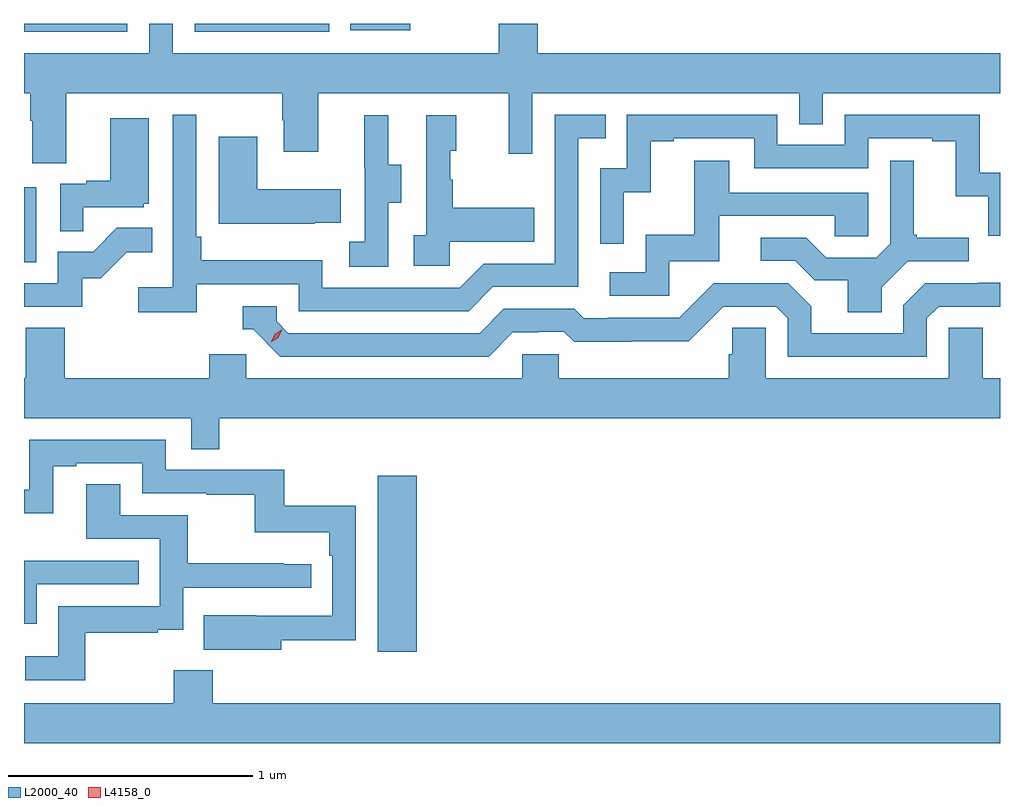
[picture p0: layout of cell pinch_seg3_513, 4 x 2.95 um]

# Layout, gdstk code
import gdstk
lib = gdstk.Library(unit=1e-6, precision=1e-09)
def R(c, l, rs):  # rectangles x0, y0, x1, y1
    for r in rs: c.add(gdstk.rectangle(r[:2], r[2:], *l))
def P(c, l, *ps):  # polygons
    for p in ps: c.add(gdstk.Polygon(p, *l))
L2000_40 = (2000, 40)
L4158_0 = (4158, 0)

pinch_seg3_513 = lib.new_cell('pinch_seg3_513')
R(pinch_seg3_513, L2000_40, [(959.423,675.984,959.584,676.705), (957.974,677.58,958.024,677.887), (957.974,678.525,958.398,678.557), (958.674,678.525,959.226,678.557), (959.311,678.531,959.557,678.557)])
P(pinch_seg3_513, L2000_40, [(959.96,678.024),(960.057,678.024),(960.057,678.272),(961.152,678.272),(961.152,678.145),(961.248,678.145),(961.248,678.272),(961.974,678.272),(961.974,678.436),(960.08,678.436),(960.08,678.557),(959.92,678.557),(959.92,678.436),(958.584,678.436),(958.584,678.557),(958.488,678.557),(958.488,678.436),(957.974,678.436),(957.974,678.272),(958,678.272),(958,678.16),(958.007,678.16),(958.007,677.986),(958.147,677.986),(958.147,678.272),(959.032,678.272),(959.032,678.161),(959.039,678.161),(959.039,678.033),(959.179,678.033),(959.179,678.272),(959.96,678.272)],
  [(958.682,677.49),(959.1,677.49),(959.1,677.379),(959.797,677.379),(959.896,677.478),(960.246,677.478),(960.246,678.087),(960.359,678.087),(960.359,678.183),(960.15,678.183),(960.15,677.574),(959.859,677.574),(959.76,677.475),(959.196,677.475),(959.196,677.587),(958.7,677.587),(958.7,677.683),(958.68,677.683),(958.68,678.184),(958.584,678.184),(958.584,677.476),(958.443,677.476),(958.443,677.374),(958.682,677.374)],
  [(960.432,677.867),(960.542,677.867),(960.542,678.075),(960.637,678.075),(960.637,678.087),(960.966,678.087),(960.966,677.964),(961.434,677.964),(961.434,678.087),(961.697,678.087),(961.697,678.075),(961.793,678.075),(961.793,677.849),(961.926,677.849),(961.926,677.688),(961.974,677.688),(961.974,677.947),(961.89,677.947),(961.89,678.183),(961.338,678.183),(961.338,678.06),(961.062,678.06),(961.062,678.183),(960.444,678.183),(960.444,677.964),(960.336,677.964),(960.336,677.655),(960.432,677.655)],
  [(959.466,677.824),(959.521,677.824),(959.521,677.979),(959.467,677.979),(959.467,678.181),(959.369,678.181),(959.369,677.967),(959.37,677.967),(959.37,677.663),(959.307,677.663),(959.307,677.56),(959.466,677.56)],
  [(959.718,677.663),(960.065,677.663),(960.065,677.803),(959.731,677.803),(959.731,677.918),(959.721,677.918),(959.721,678.036),(959.746,678.036),(959.746,678.181),(959.622,678.181),(959.622,677.69),(959.571,677.69),(959.571,677.565),(959.718,677.565)],
  [(958.217,677.805),(958.464,677.805),(958.464,677.82),(958.486,677.82),(958.486,678.169),(958.328,678.169),(958.328,677.914),(958.229,677.914),(958.229,677.901),(958.122,677.901),(958.122,677.707),(958.217,677.707)],
  [(959.165,677.741),(959.273,677.741),(959.273,677.878),(958.93,677.878),(958.93,678.094),(958.772,678.094),(958.772,677.738),(959.165,677.738)],
  [(960.618,677.583),(960.823,677.583),(960.823,677.769),(961.297,677.769),(961.297,677.685),(961.434,677.685),(961.434,677.865),(960.865,677.865),(960.865,677.995),(960.721,677.995),(960.721,677.692),(960.522,677.692),(960.522,677.538),(960.375,677.538),(960.375,677.442),(960.618,677.442)],
  [(961.489,677.476),(961.596,677.583),(961.846,677.583),(961.846,677.68),(961.633,677.68),(961.633,677.692),(961.621,677.692),(961.621,677.995),(961.524,677.995),(961.524,677.655),(961.467,677.598),(961.261,677.598),(961.18,677.679),(960.993,677.679),(960.993,677.586),(961.134,677.586),(961.214,677.506),(961.349,677.506),(961.349,677.374),(961.489,677.374)],
  [(958.212,677.514),(958.288,677.514),(958.395,677.621),(958.499,677.621),(958.499,677.72),(958.355,677.72),(958.257,677.622),(958.113,677.622),(958.113,677.493),(957.974,677.493),(957.974,677.397),(958.212,677.397)],
  [(959.977,677.292),(960.084,677.292),(960.084,677.295),(960.187,677.295),(960.229,677.253),(960.462,677.253),(960.462,677.255),(960.698,677.255),(960.84,677.397),(961.056,677.397),(961.104,677.349),(961.104,677.193),(961.674,677.193),(961.674,677.349),(961.722,677.397),(961.974,677.397),(961.974,677.495),(961.884,677.495),(961.884,677.493),(961.668,677.493),(961.578,677.403),(961.578,677.289),(961.201,677.289),(961.201,677.399),(961.107,677.493),(960.801,677.493),(960.66,677.352),(960.367,677.352),(960.367,677.349),(960.268,677.349),(960.229,677.388),(959.94,677.388),(959.841,677.289),(959.058,677.289),(959.01,677.337),(959.01,677.4),(958.871,677.4),(958.871,677.304),(958.914,677.304),(959.025,677.193),(959.878,677.193)],
  [(958.775,676.94),(961.974,676.94),(961.974,677.104),(961.903,677.104),(961.903,677.312),(961.764,677.312),(961.764,677.104),(961.014,677.104),(961.014,677.312),(960.877,677.312),(960.877,677.202),(960.863,677.202),(960.863,677.104),(960.165,677.104),(960.165,677.202),(960.015,677.202),(960.015,677.104),(958.884,677.104),(958.884,677.202),(958.733,677.202),(958.733,677.104),(958.142,677.104),(958.142,677.312),(957.982,677.312),(957.982,677.104),(957.974,677.104),(957.974,676.94),(958.659,676.94),(958.659,676.813),(958.775,676.813)],
  [(959.029,676.03),(959.334,676.03),(959.334,676.582),(959.041,676.582),(959.041,676.728),(958.554,676.728),(958.554,676.851),(957.996,676.851),(957.996,676.647),(957.974,676.647),(957.974,676.55),(958.093,676.55),(958.093,676.743),(958.189,676.743),(958.189,676.755),(958.458,676.755),(958.458,676.632),(958.723,676.632),(958.723,676.627),(958.92,676.627),(958.92,676.472),(959.225,676.472),(959.225,676.376),(959.238,676.376),(959.238,676.131),(958.925,676.131),(958.925,676.132),(958.711,676.132),(958.711,675.992),(959.029,675.992)],
  [(958.225,676.062),(958.523,676.062),(958.523,676.073),(958.626,676.073),(958.626,676.245),(959.152,676.245),(959.152,676.341),(959.039,676.341),(959.039,676.346),(958.646,676.346),(958.646,676.542),(958.369,676.542),(958.369,676.67),(958.229,676.67),(958.229,676.446),(958.53,676.446),(958.53,676.17),(958.114,676.17),(958.114,675.964),(957.979,675.964),(957.979,675.867),(958.225,675.867)],
  [(958.026,676.26),(958.445,676.26),(958.445,676.356),(957.974,676.356),(957.974,676.097),(958.026,676.097)],
  [(961.974,675.772),(958.748,675.772),(958.748,675.907),(958.588,675.907),(958.588,675.772),(957.974,675.772),(957.974,675.608),(961.974,675.608)])
P(pinch_seg3_513, L4158_0, [(958.986,677.251),(958.986,677.252),(959.002,677.284),(959.033,677.304),(959.033,677.304),(959.033,677.304),(959.017,677.271),(958.986,677.251)])

lib.write_gds('pinch_seg3_513.gds')
